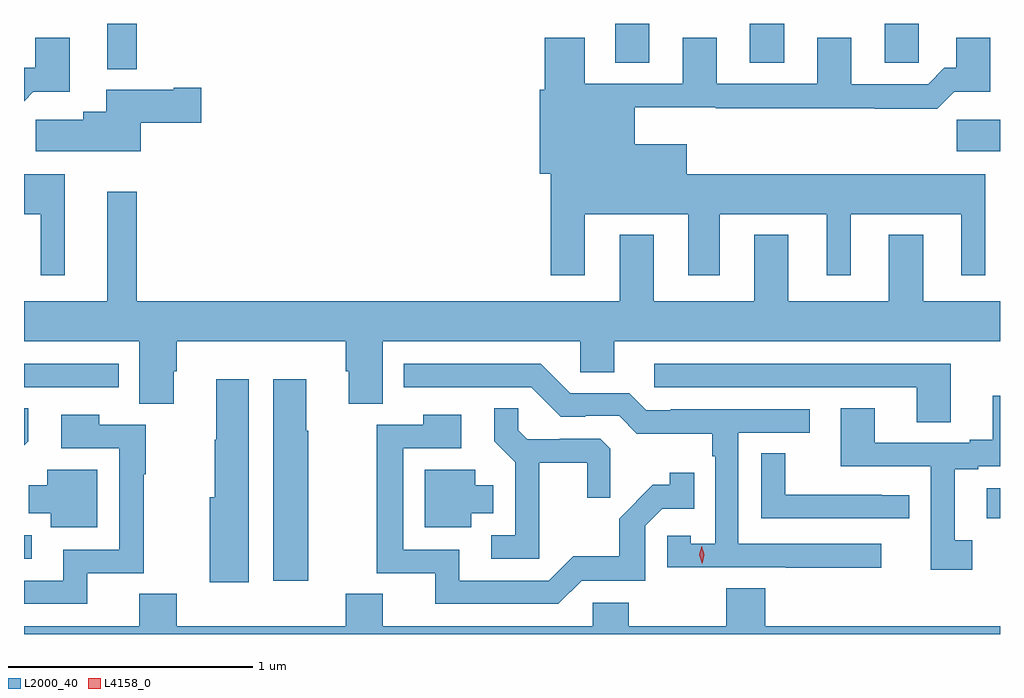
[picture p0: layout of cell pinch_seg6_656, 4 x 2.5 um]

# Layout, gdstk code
import gdstk
lib = gdstk.Library(unit=1e-6, precision=1e-09)
def R(c, l, rs):  # rectangles x0, y0, x1, y1
    for r in rs: c.add(gdstk.rectangle(r[:2], r[2:], *l))
def P(c, l, *ps):  # polygons
    for p in ps: c.add(gdstk.Polygon(p, *l))
L2000_40 = (2000, 40)
L4158_0 = (4158, 0)

pinch_seg6_656 = lib.new_cell('pinch_seg6_656')
R(pinch_seg6_656, L2000_40, [(445.614,915.81,445.645,915.906), (449.559,915.975,449.614,916.099), (445.614,916.512,446.002,916.608), (449.436,917.48,449.614,917.609), (445.955,917.816,446.077,918.002), (448.037,917.842,448.177,918.002), (448.589,917.842,448.729,918.002), (449.141,917.842,449.28,918.002)])
P(pinch_seg6_656, L2000_40, [(445.652,917.723),(445.801,917.723),(445.801,917.944),(445.661,917.944),(445.661,917.821),(445.614,917.821),(445.614,917.685)],
  [(447.913,917.222),(448.337,917.222),(448.337,916.971),(448.465,916.971),(448.465,917.222),(448.904,917.222),(448.904,916.971),(449.002,916.971),(449.002,917.222),(449.456,917.222),(449.456,916.971),(449.554,916.971),(449.554,917.386),(448.33,917.386),(448.33,917.509),(448.117,917.509),(448.117,917.66),(448.449,917.66),(448.449,917.656),(449.101,917.656),(449.101,917.654),(449.357,917.654),(449.426,917.723),(449.575,917.723),(449.575,917.944),(449.435,917.944),(449.435,917.821),(449.386,917.821),(449.319,917.754),(449.005,917.754),(449.005,917.944),(448.865,917.944),(448.865,917.757),(448.453,917.757),(448.453,917.944),(448.313,917.944),(448.313,917.757),(447.913,917.757),(447.913,917.944),(447.749,917.944),(447.749,917.731),(447.728,917.731),(447.728,917.387),(447.773,917.387),(447.773,916.971),(447.913,916.971)],
  [(446.092,917.597),(446.341,917.597),(446.341,917.739),(446.228,917.739),(446.228,917.731),(445.952,917.731),(445.952,917.641),(445.856,917.641),(445.856,917.609),(445.662,917.609),(445.662,917.48),(446.092,917.48)],
  [(445.78,917.386),(445.614,917.386),(445.614,917.222),(445.682,917.222),(445.682,916.971),(445.78,916.971)],
  [(446.227,916.578),(446.24,916.578),(446.24,916.7),(446.933,916.7),(446.933,916.578),(446.945,916.578),(446.945,916.444),(447.085,916.444),(447.085,916.7),(447.894,916.7),(447.894,916.573),(448.033,916.573),(448.033,916.7),(449.614,916.7),(449.614,916.864),(449.299,916.864),(449.299,917.137),(449.159,917.137),(449.159,916.864),(448.747,916.864),(448.747,917.137),(448.607,917.137),(448.607,916.864),(448.195,916.864),(448.195,917.137),(448.055,917.137),(448.055,916.864),(446.077,916.864),(446.077,917.314),(445.955,917.314),(445.955,916.864),(445.614,916.864),(445.614,916.7),(446.087,916.7),(446.087,916.444),(446.227,916.444)],
  [(449.413,916.608),(448.197,916.608),(448.197,916.512),(449.273,916.512),(449.273,916.369),(449.413,916.369)],
  [(449.128,915.87),(448.542,915.87),(448.542,916.326),(448.834,916.326),(448.834,916.422),(448.264,916.422),(448.264,916.419),(448.164,916.419),(448.095,916.488),(447.852,916.488),(447.732,916.608),(447.17,916.608),(447.17,916.512),(447.693,916.512),(447.813,916.392),(447.914,916.392),(447.914,916.395),(448.053,916.395),(448.126,916.322),(448.434,916.322),(448.434,916.229),(448.446,916.229),(448.446,915.871),(448.347,915.871),(448.347,915.903),(448.251,915.903),(448.251,915.774),(448.735,915.774),(448.735,915.772),(449.128,915.772)],
  [(446.778,916.333),(446.77,916.333),(446.77,916.546),(446.636,916.546),(446.636,915.72),(446.778,915.72)],
  [(446.536,916.546),(446.402,916.546),(446.402,916.298),(446.395,916.298),(446.395,916.062),(446.375,916.062),(446.375,915.714),(446.536,915.714)],
  [(449.5,915.885),(449.428,915.885),(449.428,916.176),(449.524,916.176),(449.524,916.188),(449.614,916.188),(449.614,916.477),(449.585,916.477),(449.585,916.297),(449.489,916.297),(449.489,916.284),(449.101,916.284),(449.101,916.427),(448.961,916.427),(448.961,916.188),(449.331,916.188),(449.331,915.765),(449.5,915.765)],
  [(445.631,916.291),(445.631,916.427),(445.614,916.427),(445.614,916.274)],
  [(447.725,916.202),(447.922,916.202),(447.922,916.059),(448.016,916.059),(448.016,916.261),(447.975,916.302),(447.81,916.302),(447.81,916.299),(447.676,916.299),(447.639,916.336),(447.639,916.427),(447.541,916.427),(447.541,916.291),(447.627,916.205),(447.627,915.906),(447.528,915.906),(447.528,915.81),(447.725,915.81)],
  [(447.9,915.72),(448.161,915.72),(448.161,915.945),(448.23,916.014),(448.361,916.014),(448.361,916.162),(448.26,916.162),(448.26,916.112),(448.19,916.112),(448.053,915.974),(448.053,915.819),(447.864,915.819),(447.765,915.72),(447.397,915.72),(447.397,915.846),(447.168,915.846),(447.168,916.263),(447.406,916.263),(447.406,916.399),(447.25,916.399),(447.25,916.359),(447.06,916.359),(447.06,915.75),(447.299,915.75),(447.299,915.624),(447.804,915.624)],
  [(445.874,915.75),(446.105,915.75),(446.105,916.156),(446.113,916.156),(446.113,916.359),(445.923,916.359),(445.923,916.399),(445.767,916.399),(445.767,916.263),(446.004,916.263),(446.004,915.846),(445.775,915.846),(445.775,915.72),(445.614,915.72),(445.614,915.624),(445.874,915.624)],
  [(449.242,916.07),(449.129,916.07),(449.129,916.071),(448.734,916.071),(448.734,916.241),(448.635,916.241),(448.635,915.975),(449.242,915.975)],
  [(447.448,915.995),(447.538,915.995),(447.538,916.111),(447.463,916.111),(447.463,916.174),(447.257,916.174),(447.257,915.938),(447.448,915.938)],
  [(445.915,916.174),(445.709,916.174),(445.709,916.111),(445.634,916.111),(445.634,915.995),(445.724,915.995),(445.724,915.938),(445.915,915.938)],
  [(449.614,915.532),(448.652,915.532),(448.652,915.689),(448.492,915.689),(448.492,915.532),(448.092,915.532),(448.092,915.63),(447.945,915.63),(447.945,915.532),(447.085,915.532),(447.085,915.665),(446.933,915.665),(446.933,915.532),(446.24,915.532),(446.24,915.665),(446.087,915.665),(446.087,915.532),(445.614,915.532),(445.614,915.5),(449.614,915.5)])
P(pinch_seg6_656, L4158_0, [(448.393,915.789),(448.393,915.789),(448.382,915.825),(448.391,915.861),(448.391,915.861),(448.391,915.861),(448.402,915.825),(448.393,915.789)])

lib.write_gds('pinch_seg6_656.gds')
